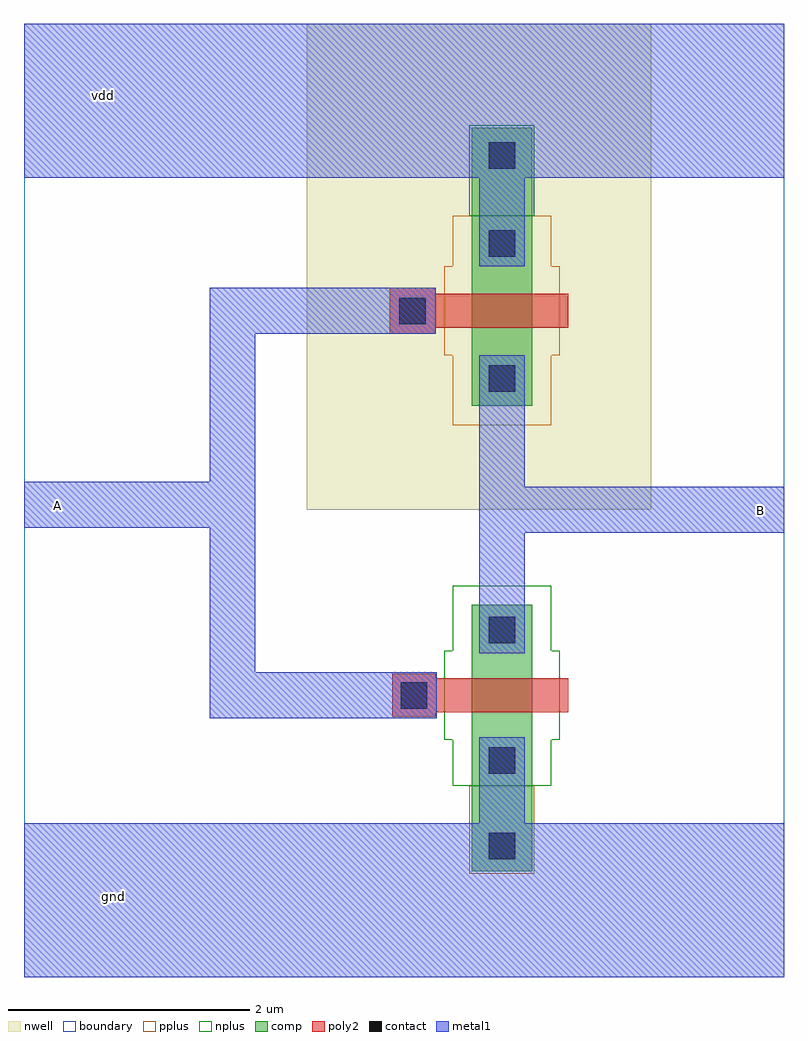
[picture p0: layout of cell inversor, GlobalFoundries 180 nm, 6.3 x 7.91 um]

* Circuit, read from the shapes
.subckt inversor A B gnd vdd
XM1 B A gnd gnd nfet_03v3 w=0.5u l=0.28u
XM2 vdd A B vdd pfet_03v3 w=0.5u l=0.28u
.ends

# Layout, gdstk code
from math import pi, radians
import gdstk
lib = gdstk.Library(unit=1e-6, precision=1e-09)
def R(c, l, rs):  # rectangles x0, y0, x1, y1
    for r in rs: c.add(gdstk.rectangle(r[:2], r[2:], *l))
boundary = (0, 0)
nwell = (21, 0)
comp = (22, 0)
poly2 = (30, 0)
pplus = (31, 0)
nplus = (32, 0)
contact = (33, 0)
metal1 = (34, 0)

nfet = lib.new_cell('nfet')
R(nfet, comp, [(-0.42,0,1.79,0.5)])
R(nfet, poly2, [(0.15,-0.66,0.51,-0.3), (0.19,-0.3,0.47,0.8)])
R(nfet, pplus, [(1.08,-0.02,1.81,0.52)])
R(nfet, nplus, [(-0.04,-0.23,0.7,-0.16), (-0.58,-0.16,1.08,0.66), (-0.04,0.66,0.7,0.73)])
R(nfet, contact, [(0.22,-0.59,0.44,-0.37), (-0.32,0.14,-0.1,0.36), (0.76,0.14,0.98,0.36), (1.47,0.14,1.69,0.36)])
R(nfet, metal1, [(0.14,-0.67,0.52,-0.29), (-0.4,0.06,-0.02,0.44), (0.68,0.06,1.06,0.44), (1.39,0.06,1.77,0.44)])

pfet = lib.new_cell('pfet')
R(pfet, nwell, [(-1.32,-0.99,2.71,1.87)])
R(pfet, comp, [(-0.46,0,1.85,0.5)])
R(pfet, poly2, [(0.19,-0.3,0.47,0.8), (0.14,0.8,0.52,1.18)])
R(pfet, pplus, [(-0.04,-0.23,0.7,-0.16), (-0.62,-0.16,1.12,0.66), (-0.04,0.66,0.7,0.73)])
R(pfet, nplus, [(1.12,-0.02,1.87,0.52)])
R(pfet, contact, [(-0.34,0.14,-0.12,0.36), (0.78,0.14,1,0.36), (1.51,0.14,1.73,0.36), (0.22,0.88,0.44,1.1)])
R(pfet, metal1, [(-0.42,0.06,-0.04,0.44), (0.7,0.06,1.08,0.44), (1.43,0.06,1.81,0.44), (0.14,0.8,0.52,1.18)])

inversor = lib.new_cell('inversor')
R(inversor, boundary, [(0,0,6.305,7.91)])
R(inversor, metal1, [(0,0,6.305,1.28), (3.775,1.28,4.155,1.61), (1.54,2.15,3.055,2.53), (1.54,2.53,1.92,3.73), (3.775,3.07,4.155,3.69), (3.775,3.69,6.305,4.07), (0,3.73,1.92,4.11), (3.775,4.07,4.155,4.78), (1.54,4.11,1.92,5.34), (3.775,4.78,3.965,5.16), (1.54,5.34,3.225,5.72), (3.775,6.28,4.155,6.63), (0,6.632,6.305,7.912)])
inversor.add(gdstk.Reference(nfet, (3.715,2.67), rotation=3*pi/2))
inversor.add(gdstk.Reference(pfet, (4.215,5.2), rotation=pi/2))
inversor.add(gdstk.Label('vdd', (0.66,7.32), layer=34, texttype=10))
inversor.add(gdstk.Label('gnd', (0.745,0.67), layer=34, texttype=10))
inversor.add(gdstk.Label('A', (0.28,3.915), layer=34, texttype=10))
inversor.add(gdstk.Label('B', (6.11,3.875), layer=34, texttype=10))

lib.write_gds('inversor.gds')
